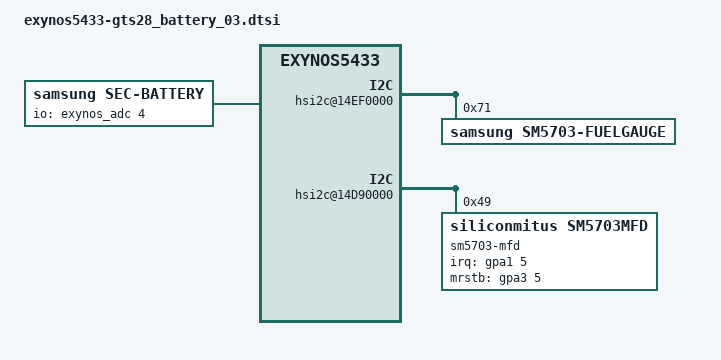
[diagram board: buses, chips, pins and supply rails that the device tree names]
/*
 * SAMSUNG UNIVERSAL5430 board device tree source
 *
 * Copyright (c) 2013 Samsung Electronics Co., Ltd.
 *		http://www.samsung.com
 *
 * This program is free software; you can redistribute it and/or modify
 * it under the terms of the GNU General Public License version 2 as
 * published by the Free Software Foundation.
*/

/ {
	pinctrl@10580000 {
		fuel_irq: fuel-irq {
			samsung,pins = "gpa1-4";
			samsung,pin-function = <0>;
			samsung,pin-pud = <0>;
			samsung,pin-drv = <0>;
		};
	};

	hsi2c@14EF0000 {
		status = "okay";
		sm5703-fuelgauge@71 {
			compatible = "samsung,sm5703-fuelgauge";
			reg = <0x71>;
			pinctrl-names = "default";
			pinctrl-0 = <&fuel_irq>;
			fuelgauge,fuel_int = <&gpa1 4 0>;
			fuelgauge,fuel_alert_soc = <2>;
			fuelgauge,capacity_max = <990>;
			fuelgauge,capacity_max_margin = <30>;
			fuelgauge,capacity_min = <0>;
			fuelgauge,capacity_calculation_type = <28>;
			fuelgauge,type_str = "SDI";
		};
	};

	battery_params {
		battery,id = <0>; /* -1 means auto, detected by F/G */
		battery0,battery_type = <4350>; /* 4200 4350 4400 */
		battery0,battery_table0 = <0x1400 0x1B33 0x1D7C 0x1D8C 0x1DF1 0x1E32 0x1E8D 0x1F5F 0x1FB0 0x1FE7 0x2086 0x209F 0x2106 0x213D 0x2310 0x2333>;
		battery0,battery_table1 = <0x1400 0x1B33 0x1D7C 0x1D8C 0x1DF1 0x1E32 0x1E8D 0x1F5F 0x1FB0 0x1FE7 0x2086 0x209F 0x2106 0x213D 0x2310 0x2333>;
		battery0,battery_table2 = <0x0 0x3C 0xB4 0x385 0x70B 0xBBD 0x12C8 0x19D3 0x1C2D 0x1E86 0x20DF 0x220B 0x2464 0x2591 0x2EF5 0x2F61>;
		battery0,temp_std = <25>;
		battery0,temp_offset = <10>;
		battery0,temp_offset_cal = <0x01>;
		battery0,charge_offset_cal = <(-0x01)>;
		battery0,rce_value = <0x0749 0x0580 0x371>;
		battery0,dtcd_value = <0x1>;
		battery0,rs_value = <0x1ae 0x47a 0x3800 0x00a4>; /*rs mix_factor max min*/
		battery0,vit_period = <0x350a>;
		battery0,mix_value = <0x0a03 0x0004>; /*mix_rate init_blank*/
		battery0,topoff_soc = <0x1 0x000>; /*enable soc*/
		battery0,volt_cal = <0x8000>;
		battery0,curr_cal = <0x7B00>;
	};

	battery {
		status = "okay";
		compatible = "samsung,sec-battery";
		battery,vendor = "SDI SDI";
		battery,charger_name = "sm5703-charger";
		battery,fuelgauge_name = "sm5703-fuelgauge";
		battery,technology = <2>; /* POWER_SUPPLY_TECHNOLOGY_LION */
		/* .temp_cohot = -1000; */
		/* .temp_cocold = -4325; */

		battery,chip_vendor = "LSI";
		battery,temp_adc_type = <1>; /* SEC_BATTERY_ADC_TYPE_AP */

		battery,polling_time = <10 30 30 30 3600>;

		battery,temp_table_adc = <500 571 617 633 653 670 688 757 848 965 1016 1034
				         1059 1087 1030 1194 1334 1418 1518 1597 1677 1742 1772 1785
					 1795 1808 1818 1827 1839 1849 1859 1868 1875 1923 1970 1995>;
		battery,temp_table_data = <690 640 610 600 590 580 570 540 490 440 410 400
					  390 380 370 340 290 240 190 140 90 40 10 0
					  (-10) (-20) (-30) (-40) (-50) (-60) (-70) (-80) (-110) (-160) (-210) (-260)>;

		battery,input_current_limit = <1800 0 0 1800 460 900 1000 460 1000 0 760 1900 0 0 0 400 700 1300 300 1000 1600>;
		battery,fast_charging_current = <2100 0 0 2100 460 1200 1000 460 1200 0 900 1600 0 0 0 400 700 1300 300 1000 1900>;
		battery,full_check_current_1st = <200 0 0 200 200 200 200 200 200 0 200 200 0 0 0 200 200 200 200 200 200>;
		battery,full_check_current_2nd = <2400 0 0 2400 2400 2400 2400 2400 2400 0 2400 2400 0 0 0 2400 2400 2400 2400 2400 2400>;

		battery,adc_check_count = <5>;

		battery,cable_check_type = <4>; /* SEC_BATTERY_CABLE_CHECK_PSY */
		battery,cable_source_type = <1>; /* SEC_BATTERY_CABLE_SOURCE_EXTERNAL */
		battery,event_waiting_time = <600>;
		battery,polling_type = <1>; /* SEC_BATTERY_MONITOR_ALARM */
		battery,monitor_initial_count = <0>;

		battery,battery_check_type = <0>; /* SEC_BATTERY_CHECK_CHARGER */
		battery,check_count = <0>;
		battery,check_adc_max = <1440>;
		battery,check_adc_min = <0>;

		battery,ovp_uvlo_check_type = <3>; /* SEC_BATTERY_OVP_UVLO_CHGPOLLING */

		battery,thermal_source = <0>; /* SEC_BATTERY_THERMAL_SOURCE_FG */

		battery,temp_check_type = <2>; /* _BATTERY_TEMP_CHECK_TEMP */
		battery,temp_check_count = <1>;
		battery,temp_highlimit_threshold_event = <800>;
		battery,temp_highlimit_recovery_event = <750>;
		battery,temp_high_threshold_event = <700>;
		battery,temp_high_recovery_event = <460>;
		battery,temp_low_threshold_event = <(-30)>;
		battery,temp_low_recovery_event = <0>;
		battery,temp_highlimit_threshold_normal = <800>;
		battery,temp_highlimit_recovery_normal = <750>;
		battery,temp_high_threshold_normal = <600>;
		battery,temp_high_recovery_normal = <460>;
		battery,temp_low_threshold_normal = <(-50)>;
		battery,temp_low_recovery_normal = <0>;
		battery,temp_highlimit_threshold_lpm = <800>;
		battery,temp_highlimit_recovery_lpm = <750>;
		battery,temp_high_threshold_lpm = <600>;
		battery,temp_high_recovery_lpm = <460>;
		battery,temp_low_threshold_lpm = <(-50)>;
		battery,temp_low_recovery_lpm = <0>;
		battery,full_check_type = <7>; /* SEC_BATTERY_FULLCHARGED_CHGPSY */
		battery,full_check_type_2nd = <3>; /* SEC_BATTERY_FULLCHARGED_TIME */
		battery,full_check_count = <1>;
		battery,chg_gpio_full_check = <0>;
		battery,chg_polarity_full_check = <1>;

		/* SEC_BATTERY_FULL_CONDITION_SOC |
		   SEC_BATTERY_FULL_CONDITION_NOTIMEFULL |
		   SEC_BATTERY_FULL_CONDITION_VCELL */
		battery,full_condition_type = <13>;
		battery,full_condition_soc = <97>;
		battery,full_condition_vcell = <4350>;

		battery,recharge_check_count = <2>;
		battery,recharge_condition_type = <4>; /* SEC_BATTERY_RECHARGE_CONDITION_VCELL */
		battery,recharge_condition_soc = <98>;
		battery,recharge_condition_vcell = <4350>;

		battery,charging_total_time = <21600>;
		battery,recharging_total_time = <5400>;
		battery,charging_reset_time = <0>;

		io-channels = <&exynos_adc 4>;
		io-channel-names = "adc-temp";
		#io-channel-cells = <1>;
		io-channel-ranges;

		battery,chg_float_voltage = <4400>;
	};

	hsi2c@14D90000 {
		status = "okay";
		sm5703-mfd@49 {
			compatible = "siliconmitus,sm5703mfd";
			reg = <0x49>;
			sm5703,irq-gpio = <&gpa1 5 0>;
			sm5703,mrstb-gpio = <&gpa3 5 0>;
		};
	};

	charger {
		status = "disable";
		compatible = "siliconmitus,sm5703-charger";

		/* Charger */
		battery,charger_name = "sm5703-charger";
		battery,chg_gpio_en = <&gpg3 6 0>;
		battery,chg_polarity_en = <0>;
		battery,chg_gpio_status = <0>;
		battery,chg_polarity_status = <0>;
		battery,chg_float_voltage = <4400>;
		chg_autostop = <0>;
		chg_autoset = <0>;
		chg_aiclen = <0>;
		chg_aiclth = <4500>;
		fg_vol_val = <4350>;
		fg_soc_val = <95>;
		fg_curr_avr_val = <150>;
	};
};
